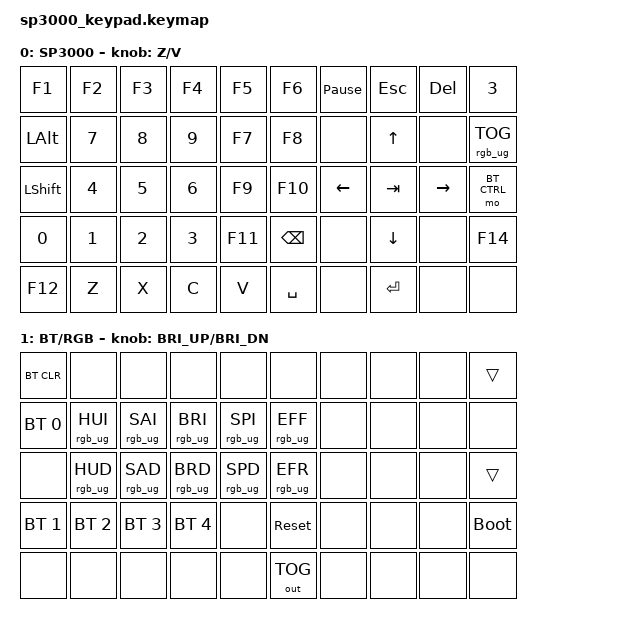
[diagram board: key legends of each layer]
/*
 * SP3000 Scanner Keypad — ZMK Keymap
 * MAPPED TO ORIGINAL SP3000 SCANNER KEYBOARD
 *
 * Based on testing the original Fuji SP3000 keyboard
 */

#include <behaviors.dtsi>
#include <dt-bindings/zmk/bt.h>
#include <dt-bindings/zmk/keys.h>
#include <dt-bindings/zmk/rgb.h>
#include <dt-bindings/zmk/outputs.h>

#define DEFAULT 0
#define BT_CTRL 1

/ {
    keymap {
        compatible = "zmk,keymap";

        default_layer {
            display-name = "SP3000";
            /*
             * Mapped to match original SP3000 scanner keyboard
             *
             * Physical Layout → Keycode
             * ==========================================
             * R0: F1, F2, F3, F4, F5, F6, PAUSE, ESC, DELETE, [M col: custom]
             * R1: ALT, 7, 8, 9, F7, F8, [empty], UP, [empty], [M1: custom]
             * R2: SHIFT, 4, 5, 6, F9, F10, LEFT, TAB, RIGHT, [M2: custom]
             * R3: 0, 1, 2, 3, F11(+3D), BACKSPACE, [empty], DOWN, [empty], [M3: custom]
             * R4: F12, Z, X, C, V, SPACE, [empty], ENTER, [empty], [M4: custom]
             */
            bindings = <
                // R0: F1-F6, PRINT/STOP→PAUSE, SCAN/CANCEL→ESC, SORT/ORDER→DELETE, empty
                &kp F1      &kp F2      &kp F3      &kp F4      &kp F5      &kp F6      &kp PAUSE_BREAK &kp ESC     &kp DEL         &kp N3
                
                // R1: ALT, 7-9, FILM DRIVE→F7, FULL PANO→F8, empty, ↑→UP, empty, M1
                &kp LALT    &kp N7      &kp N8      &kp N9      &kp F7      &kp F8      &none           &kp UP      &none           &rgb_ug RGB_TOG
                
                // R2: SHIFT, 4-6, HOLD→F9, PRINT SIZE→F10, ←→LEFT, FIELD→TAB, →→RIGHT, M2
                &kp LSHFT   &kp N4      &kp N5      &kp N6      &kp F9      &kp F10     &kp LEFT        &kp TAB     &kp RIGHT       &mo BT_CTRL
                
                // R3: 0-3, +3D→F11, COLOR KEY→BACKSPACE, empty, ↓→DOWN, empty, M3→custom (F14)
                &kp N0      &kp N1      &kp N2      &kp N3      &kp F11     &kp BSPC    &none           &kp DOWN    &none           &kp F14
                
                // R4: PSET→F12, ◁→Z, ◀→X, ▶→C, ▷→V, PASS→SPACE, empty, START/ENTER→ENTER, empty, M4
                &kp F12     &kp Z       &kp X       &kp C       &kp V       &kp SPACE   &none           &kp RET     &none           &none
            >;
            
            sensor-bindings = <&inc_dec_kp Z V>;
        };

        bt_ctrl_layer {
            display-name = "BT/RGB";
            /*
             * Hold M2 to access BT pairing & RGB controls
             */
            bindings = <
                &bt BT_CLR      &none           &none           &none           &none           &none           &none           &none           &none           &trans
                &bt BT_SEL 0    &rgb_ug RGB_HUI &rgb_ug RGB_SAI &rgb_ug RGB_BRI &rgb_ug RGB_SPI &rgb_ug RGB_EFF &none           &none           &none           &none
                &none           &rgb_ug RGB_HUD &rgb_ug RGB_SAD &rgb_ug RGB_BRD &rgb_ug RGB_SPD &rgb_ug RGB_EFR &none           &none           &none           &trans
                &bt BT_SEL 1    &bt BT_SEL 2    &bt BT_SEL 3    &bt BT_SEL 4    &none           &sys_reset      &none           &none           &none           &bootloader
                &none           &none           &none           &none           &none           &out OUT_TOG    &none           &none           &none           &none
            >;
            
            sensor-bindings = <&inc_dec_kp C_BRI_UP C_BRI_DN>;
        };
    };
};

/*
 * KEY MAPPINGS SUMMARY:
 * 
 * Original SP3000 Scanner Functions:
 * - F1-F6: Function keys (original)
 * - PRINT/STOP: PAUSE key
 * - SCAN/CANCEL: ESC key
 * - SORT/ORDER: DELETE key
 * - Number keys 0-9: Regular numbers (not numpad)
 * - Color keys: -C/7→7, -M/8→8, -Y/9→9, +C/4→4, +M/5→5, +Y/6→6
 * - Density keys: -3D/0→0, -D/1→1, N/2→2, +D/3→3, +3D→F11
 * - FILM DRIVE: F7
 * - FULL PANO: F8
 * - HOLD: F9
 * - PRINT SIZE: F10
 * - COLOR KEY CANCEL: F11
 * - PSET: F12
 * - Arrow keys: Standard arrow keys
 * - FIELD: TAB
 * - Down arrow: BACKSPACE (on original!)
 * - M3: DOWN arrow
 * - Playback keys: Z, X, C, V
 * - PASS: SPACE
 * - START/ENTER: ENTER
 * 
 * Custom programmable keys (rightmost column - not on original):
 * - M1: RGB toggle (or program to anything)
 * - M2: Hold for BT/RGB layer (or program to anything)
 * - M3: F14 (or program to anything)
 * - M4: Empty (program to anything)
 * - Encoder: Volume control
 */
